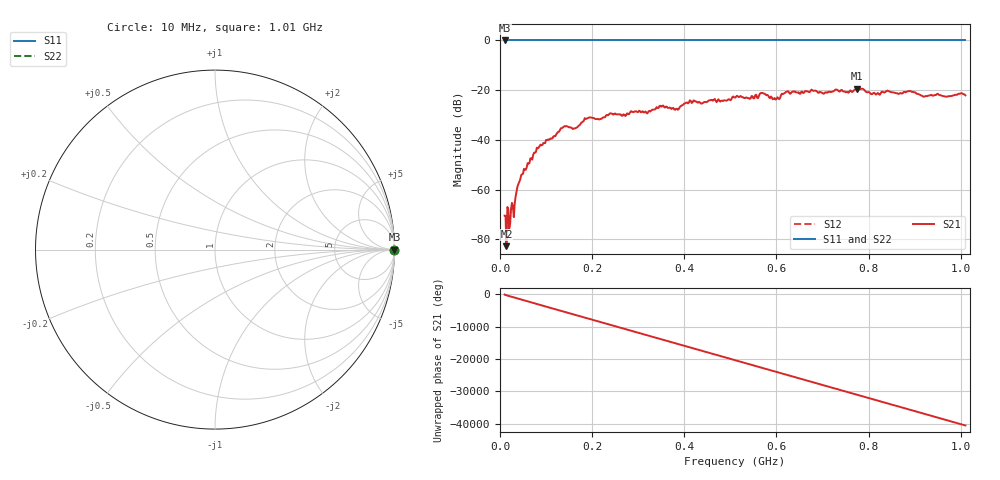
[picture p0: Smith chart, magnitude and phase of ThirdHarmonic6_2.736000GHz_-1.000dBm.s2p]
! 8/17/2025 6:45:41 AM
! C:\ANRITSUVNA\TEMP\TEMP.S2P
! CHANNEL.1
! TR.MEASUREMENT
! RAW.DATA
! RF.CORRECTION.OFF
! AVERAGING.OFF
! IF.BANDWIDTH: 5KHZ
! SWEEPTYPE:  FREQ.SWEEP(Linear)
! Reference Plane Port Info
! PORT:  PORT1  PORT2
! DISTANCE:  0  m  0  m
! TIME:  0  s  0  s
! PHASE.OFFSET:  0  deg.  0  deg.
! LOSS:  0  dB  0  dB
! REF.LOSS:  0  dB  0  dB
! REF.FREQ:  0  Hz  0  Hz
! Power Info
! POWER:  -20  dBm  -20  dBm
! EFF.POWER:  -20  dBm  -20  dBm
! SOURCE.ATTEN:  0  dB  0  dB
! TEST.ATTEN:  0  dB  0  dB
# GHZ S RI R 50.0
! FREQ.GHZ  S11RE  S11IM  S21RE  S21IM  S12RE  S12IM  S22RE  S22IM
!; PortSelection: Port_12
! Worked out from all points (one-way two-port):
!   501 points, 10 MHz to 1.01 GHz, reference 50 ohm
!   highest |S21| = -19.36 dB at 774 MHz (marker M1); lowest = -82.8 dB at 14 MHz (marker M2)
!   lowest |S11| = 0.0 dB at 10 MHz (marker M3)
!   |S11| at or under -10 dB: nowhere
!   |S22| runs from 0.0 to 0.0 dB; largest |S21 - S12| = 1.1
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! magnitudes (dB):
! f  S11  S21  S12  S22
! 10 MHz  0.0  -70.5  0.0  0.0
! 14 MHz  0.0  -82.8  0.0  0.0
! 18 MHz  0.0  -67.9  0.0  0.0
! 20 MHz  0.0  -75.7  0.0  0.0
! 26 MHz  0.0  -65.3  0.0  0.0
! 48 MHz  0.0  -53.9  0.0  0.0
! 84 MHz  0.0  -43.0  0.0  0.0
! 136 MHz  0.0  -35.1  0.0  0.0
! 162 MHz  0.0  -35.4  0.0  0.0
! 178 MHz  0.0  -32.9  0.0  0.0
! 344 MHz  0.0  -27.2  0.0  0.0
! 384 MHz  0.0  -27.5  0.0  0.0
! 410 MHz  0.0  -25.0  0.0  0.0
! 510 MHz  0.0  -23.0  0.0  0.0
! 570 MHz  0.0  -21.1  0.0  0.0
! 596 MHz  0.0  -23.2  0.0  0.0
! 622 MHz  0.0  -20.6  0.0  0.0
! 678 MHz  0.0  -20.1  0.0  0.0
! 774 MHz  0.0  -19.4  0.0  0.0
! 820 MHz  0.0  -21.1  0.0  0.0
! 844 MHz  0.0  -20.4  0.0  0.0
! 1.01 GHz  0.0  -22.1  0.0  0.0
